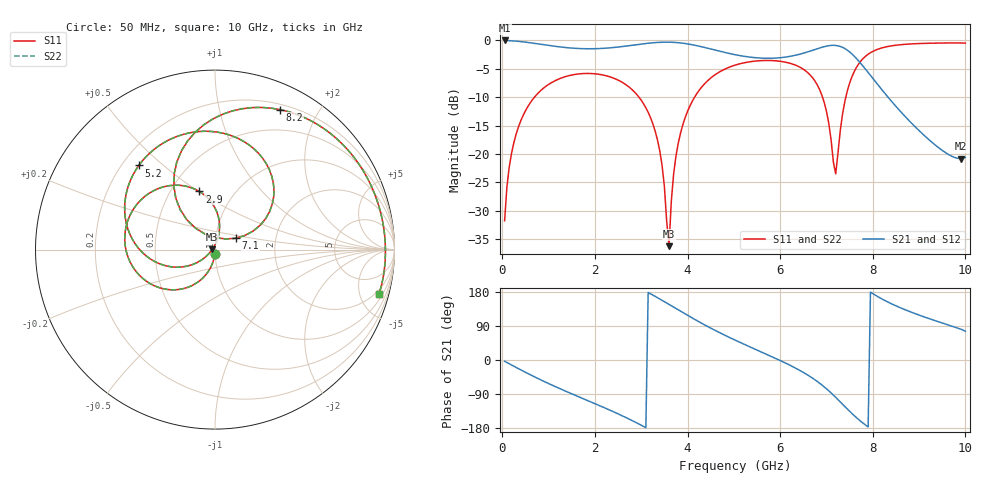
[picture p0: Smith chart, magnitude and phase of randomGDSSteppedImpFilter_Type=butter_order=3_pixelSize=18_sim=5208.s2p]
! freq	dB(S11)	phase(S11)	dB(S12)	phase(S12)
!  dB(S21)	phase(S21)	dB(S22)	phase(S22)
!S-par simulation data
#  GHz  S  DB  R 50
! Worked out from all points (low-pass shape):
!   200 points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, 50 MHz to 10 GHz, reference 50 ohm
!   highest |S21| = -0.01 dB at 50 MHz (marker M1); lowest = -20.8 dB at 9.9 GHz (marker M2)
!   |S21| within 3 dB of the highest: start of sweep to 5.418 GHz; 6.05 GHz to 7.627 GHz (1.577 GHz wide, 23.1 % of centre)
!   lowest |S11| = -36.2 dB at 3.6 GHz (marker M3), VSWR 1.03, Z = 48.5 + j0.236 ohm
!   |S11| at or under -10 dB: start of sweep to 694.9 MHz; 2.952 GHz to 4.152 GHz (1.2 GHz wide, 33.8 % of centre); 6.915 GHz to 7.418 GHz (503.2 MHz wide, 7.02 % of centre)
!   |S22| runs from -36.3 to -0.4 dB; largest |S21 - S12| = 0
!   S11 on the Smith chart (normalised r, x): 50 MHz: 1.00, -0.05; 2.9 GHz: 0.69, +0.50; 5.2 GHz: 0.27, +0.42; 7.1 GHz: 1.25, +0.16; 8.2 GHz: 0.26, +1.53; 10 GHz: 1.50, -7.17
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0.05  -31.76 -93.3  -0.01 -3.4  -0.01 -3.4  -31.76 -93.3
0.2  -19.86 -103.6  -0.07 -13.2  -0.07 -13.2  -19.86 -103.6
0.5  -12.39 -122.9  -0.30 -32.5  -0.30 -32.5  -12.39 -122.9
1.75  -5.83 167.4  -1.46 -102.2  -1.46 -102.2  -5.83 167.4
2.9  -9.49 105.1  -0.75 -165.7  -0.75 -165.7  -9.49 105.1
3.4  -19.43 76.9  -0.34 161.0  -0.34 161.0  -19.43 76.8
3.6  -36.23 170.9  -0.31 146.8  -0.31 146.8  -36.29 171.1
3.7  -23.51 -142.2  -0.34 139.6  -0.34 139.6  -23.51 -142.1
3.95  -13.56 -152.5  -0.55 121.6  -0.55 121.6  -13.56 -152.4
5.05  -4.29 140.4  -2.55 51.2  -2.55 51.2  -4.29 140.4
5.2  -3.98 132.1  -2.77 42.7  -2.77 42.7  -3.98 132.1
6  -3.68 89.1  -3.05 -1.3  -3.05 -1.3  -3.68 89.1
6.7  -6.58 45.5  -1.74 -48.0  -1.74 -48.0  -6.58 45.5
7.1  -17.52 28.7  -0.88 -86.8  -0.88 -86.8  -17.55 28.3
7.2  -23.49 88.1  -0.89 -98.5  -0.89 -98.5  -23.62 88.3
7.35  -12.83 133.3  -1.23 -117.0  -1.23 -117.0  -12.85 133.6
7.55  -6.40 118.3  -2.38 -141.2  -2.38 -141.2  -6.40 118.5
8.2  -1.31 65.2  -8.72 160.9  -8.72 160.9  -1.31 65.3
8.35  -1.03 56.1  -10.20 151.5  -10.20 151.5  -1.03 56.2
9.05  -0.54 21.9  -16.28 116.3  -16.28 116.3  -0.53 22.0
9.9  -0.45 -11.4  -20.82 81.4  -20.82 81.4  -0.45 -11.3
10  -0.48 -15.2  -20.60 75.9  -20.60 75.9  -0.48 -15.2
